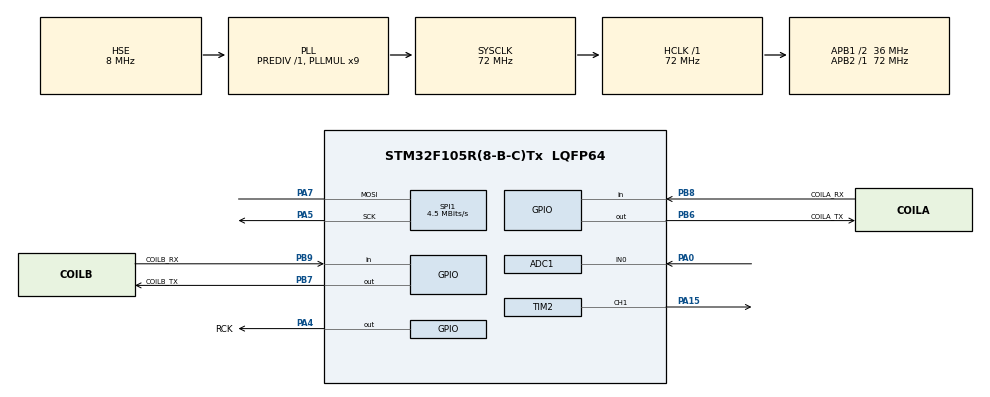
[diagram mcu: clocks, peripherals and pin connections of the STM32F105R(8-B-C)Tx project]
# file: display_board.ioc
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ADC1.Channel-2\#ChannelRegularConversion=ADC_CHANNEL_0
ADC1.ContinuousConvMode=ENABLE
ADC1.NbrOfConversion=1
ADC1.NbrOfConversionFlag=1
ADC1.Rank-2\#ChannelRegularConversion=1
ADC1.SamplingTime-2\#ChannelRegularConversion=ADC_SAMPLETIME_13CYCLES_5
ADC1.master=1
Dma.ADC1.0.Direction=DMA_PERIPH_TO_MEMORY
Dma.ADC1.0.Instance=DMA1_Channel1
Dma.ADC1.0.MemDataAlignment=DMA_MDATAALIGN_HALFWORD
Dma.ADC1.0.MemInc=DMA_MINC_ENABLE
Dma.ADC1.0.Mode=DMA_NORMAL
Dma.ADC1.0.PeriphDataAlignment=DMA_PDATAALIGN_HALFWORD
Dma.ADC1.0.PeriphInc=DMA_PINC_DISABLE
Dma.ADC1.0.Priority=DMA_PRIORITY_LOW
Dma.Request0=ADC1
Mcu.Family=STM32F1
Mcu.Name=STM32F105R(8-B-C)Tx
Mcu.Package=LQFP64
NVIC.DMA1_Channel1_IRQn=true\:0\:0\:false\:false\:true\:false\:true\:true
NVIC.PriorityGroup=NVIC_PRIORITYGROUP_4
NVIC.TIM3_IRQn=true\:0\:0\:false\:false\:true\:true\:true\:true
NVIC.TIM6_IRQn=true\:0\:0\:false\:false\:true\:true\:true\:true
PA0-WKUP.Signal=ADCx_IN0
PA13.Mode=Serial_Wire
PA13.Signal=SYS_JTMS-SWDIO
PA14.Mode=Serial_Wire
PA14.Signal=SYS_JTCK-SWCLK
PA15.Signal=S_TIM2_CH1_ETR
PA4.GPIO_Label=RCK
PA4.Signal=GPIO_Output
PA5.Mode=Simplex_Bidirectional_Master
PA5.Signal=SPI1_SCK
PA7.Mode=Simplex_Bidirectional_Master
PA7.Signal=SPI1_MOSI
PB6.GPIO_Label=COILA_TX
PB6.Signal=GPIO_Output
PB7.GPIO_Label=COILB_TX
PB7.Signal=GPIO_Output
PB8.GPIO_Label=COILA_RX
PB8.GPIO_PuPd=GPIO_PULLUP
PB8.Signal=GPIO_Input
PB9.GPIO_Label=COILB_RX
PB9.Signal=GPIO_Input
PD0-OSC_IN.Mode=HSE-External-Oscillator
PD0-OSC_IN.Signal=RCC_OSC_IN
PD1-OSC_OUT.Mode=HSE-External-Oscillator
PD1-OSC_OUT.Signal=RCC_OSC_OUT
ProjectManager.HeapSize=0x200
ProjectManager.StackSize=0x400
ProjectManager.TargetToolchain=STM32CubeIDE
RCC.ADCPresc=RCC_ADCPCLK2_DIV6
RCC.AHBFreq_Value=72000000
RCC.APB1CLKDivider=RCC_HCLK_DIV2
RCC.APB1Freq_Value=36000000
RCC.APB1TimFreq_Value=72000000
RCC.APB2Freq_Value=72000000
RCC.APB2TimFreq_Value=72000000
RCC.HCLKFreq_Value=72000000
RCC.PLLMUL=RCC_PLL_MUL9
RCC.PLLSourceVirtual=RCC_PLLSOURCE_HSE
RCC.SYSCLKFreq_VALUE=72000000
RCC.SYSCLKSource=RCC_SYSCLKSOURCE_PLLCLK
RCC.USBFreq_Value=72000000
RCC.USBPrescaler=RCC_USBCLKSOURCE_PLL_DIV2
SH.ADCx_IN0.0=ADC1_IN0,IN0
SH.S_TIM2_CH1_ETR.0=TIM2_CH1,PWM Generation1 CH1
SPI1.BaudRatePrescaler=SPI_BAUDRATEPRESCALER_16
SPI1.CalculateBaudRate=4.5 MBits/s
SPI1.Direction=SPI_DIRECTION_1LINE
SPI1.Mode=SPI_MODE_MASTER
SPI1.VirtualType=VM_MASTER
TIM2.Channel-PWM\ Generation1\ CH1=TIM_CHANNEL_1
TIM2.ClockDivision=TIM_CLOCKDIVISION_DIV1
TIM2.Period=4096-1
TIM2.Prescaler=24-1
TIM2.Pulse-PWM\ Generation1\ CH1=500-1
TIM3.AutoReloadPreload=TIM_AUTORELOAD_PRELOAD_ENABLE
TIM3.Period=19
TIM3.Prescaler=74
TIM6.AutoReloadPreload=TIM_AUTORELOAD_PRELOAD_ENABLE
TIM6.Period=1200-1
TIM6.Prescaler=72-1
VP_TIM2_VS_ClockSourceINT.Mode=Internal
VP_TIM3_VS_ClockSourceINT.Mode=Internal
VP_TIM6_VS_ClockSourceINT.Mode=Enable_Timer
board=custom

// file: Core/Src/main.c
/* USER CODE BEGIN Header */
/**
  ******************************************************************************
  * @file           : main.c
  * @brief          : Main program body
  ******************************************************************************
  * @attention
  *
  * Copyright (c) 2023 STMicroelectronics.
  * All rights reserved.
  *
  * This software is licensed under terms that can be found in the LICENSE file
  * in the root directory of this software component.
  * If no LICENSE file comes with this software, it is provided AS-IS.
  *
  ******************************************************************************
  */
/* USER CODE END Header */
#include "main.h"

/* USER CODE BEGIN Includes */
#include "seven_seg.h"
#include "softuart.h"

/* USER CODE END Includes */

ADC_HandleTypeDef hadc1;
DMA_HandleTypeDef hdma_adc1;

SPI_HandleTypeDef hspi1;

TIM_HandleTypeDef htim2;
TIM_HandleTypeDef htim3;
TIM_HandleTypeDef htim6;

/* USER CODE BEGIN PV */

volatile uint16_t adc_dma_result;
const int         adcChannelCount = 1;
volatile boolean  adc_conv_complete = false; //set by callback

uint16_t temp_a;
uint16_t temp_b;

// Create coil groups
// Each coil group is a struct of 3 seven segment displays
CoilGroup coils[2];

/* USER CODE END PV */

void SystemClock_Config(void);
static void MX_GPIO_Init(void);
static void MX_DMA_Init(void);
static void MX_ADC1_Init(void);
static void MX_SPI1_Init(void);
static void MX_TIM2_Init(void);
static void MX_TIM3_Init(void);
static void MX_TIM6_Init(void);

/* USER CODE BEGIN 0 */

// Send an SPI message
// Need to call this function every main loop, or at least 240Hz
HAL_StatusTypeDef display_loop(CoilGroup *p_coils){

	static uint8_t current_digit = 0;
	current_digit++;
	if(current_digit > 3) current_digit = 0;

	uint8_t tx_buf[7];
	populate_tx_buf(tx_buf, p_coils, current_digit);

	HAL_GPIO_WritePin(RCK_GPIO_Port, RCK_Pin, GPIO_PIN_RESET);

	HAL_StatusTypeDef stat = HAL_SPI_Transmit(&hspi1, (uint8_t*)&tx_buf, (uint16_t)sizeof(tx_buf), 100);

	// Clock to output registers
	HAL_GPIO_WritePin(RCK_GPIO_Port, RCK_Pin, GPIO_PIN_SET);

	return stat;
}

void handle_msg(uint8_t *msg_buf, uint8_t uart_num){
	switch(msg_buf[0] & 0b00001111){
	case MSG_TEMP_INT:{
		uint32_t val = 0;

		val |= msg_buf[1];
		val |= msg_buf[2] << 8;
		val |= msg_buf[3] << 16;
		val |= msg_buf[4] << 24;

		uint8_t coil_num = msg_buf[0] & 0xF0;

//		if(uart_num == SOFT_UART_A){
		if(coil_num == COIL_A){
			temp_a = (uint16_t)(val & 0x0000FFFF);

			static int msg_count_a = 0;
			set_seg7_int(&coils[0].current, ++msg_count_a);
		}
		//else if(uart_num == SOFT_UART_B){
		else if(coil_num == COIL_B){
			temp_b = (uint16_t)(val & 0x0000FFFF);

			static int msg_count_b = 0;
			set_seg7_int(&coils[1].current, ++msg_count_b);
		}

		break;
	}
	}
}

/**
 * For SOFT_UART_A and SOFT_UART_B, check for data, and update coil temperature value
 */
void handle_software_uart(){

	uint8_t buf[SENSE_BOARD_MSG_SIZE];

	uint8_t n_rx_a = SoftUartRxAlavailable(SOFT_UART_A);
	uint8_t n_rx_b = SoftUartRxAlavailable(SOFT_UART_B);

	if(n_rx_a >= SENSE_BOARD_MSG_SIZE){
		SoftUartReadRxBuffer(SOFT_UART_A, buf, SENSE_BOARD_MSG_SIZE);
		handle_msg(buf, SOFT_UART_A);
	}

	if(n_rx_b >= SENSE_BOARD_MSG_SIZE){
		SoftUartReadRxBuffer(SOFT_UART_B, buf, SENSE_BOARD_MSG_SIZE);
		handle_msg(buf, SOFT_UART_B);
	}
}

void count_led_test(CoilGroup* groups){
	//Update display number
	static uint32_t num_time = 0;
	if(HAL_GetTick() - num_time > 10){
		num_time = HAL_GetTick();

		static uint16_t num = 0;
		num++;
   	    set_seg7_int(&groups[0].temp, num);
		set_seg7_int(&groups[0].voltage, num);
		set_seg7_int(&groups[0].current, num);
		set_seg7_int(&groups[1].temp, num);
		set_seg7_int(&groups[1].voltage, num);
		set_seg7_int(&groups[1].current, num);

 	    if(num > 9999) num = 0;
	}
}

/* USER CODE END 0 */

int main(void)
{

  /* MCU Configuration--------------------------------------------------------*/

  /* Reset of all peripherals, Initializes the Flash interface and the Systick. */
  HAL_Init();

  /* Configure the system clock */
  SystemClock_Config();

  /* Initialize all configured peripherals */
  MX_GPIO_Init();
  MX_DMA_Init();
  MX_ADC1_Init();
  MX_SPI1_Init();
  MX_TIM2_Init();
  MX_TIM3_Init();
  MX_TIM6_Init();
  /* USER CODE BEGIN 2 */

  // Start DMA
  HAL_ADC_Start_DMA(&hadc1, (uint32_t*) &adc_dma_result, adcChannelCount);
  // HAL_ADC_Stop_DMA(&hadc1);

  // Start PWM on OE
  htim2.Instance->CCR1 = 500-1;
  HAL_TIM_PWM_Start(&htim2, TIM_CHANNEL_1);

  // Initialize soft uart and start timer
  HAL_TIM_Base_Start_IT(&htim3);
  HAL_TIM_Base_Start_IT(&htim6);

  SoftUartState_E soft_state = SoftUartInit(0, COILA_TX_GPIO_Port, COILA_TX_Pin, \
		                                       COILA_RX_GPIO_Port, COILA_RX_Pin);
                  soft_state = SoftUartInit(1, COILB_TX_GPIO_Port, COILB_TX_Pin, \
  		                                       COILB_RX_GPIO_Port, COILB_RX_Pin);

  soft_state = SoftUartEnableRx(SOFT_UART_A);
  soft_state = SoftUartEnableRx(SOFT_UART_B);

  /* USER CODE END 2 */

  /* Infinite loop */
  /* USER CODE BEGIN WHILE */
  while (1)
  {
	  // Do startup routine
	  if(HAL_GetTick() < 4000) count_led_test(coils);
	  else{
		  static int first_entry = 1;
		  if(first_entry == 1){
			  first_entry = 0;
			  turn_off_display(&coils[0].current);
			  turn_off_display(&coils[0].voltage);
			  turn_off_display(&coils[1].voltage);
			  turn_off_display(&coils[1].current);
			  //turn_off_display(&coils[1].temp);
			  set_seg7_int(&coils[0].temp, 1);
			  set_seg7_int(&coils[1].temp, 1);
		  }

		  // Update temperature
		  // Use current as a counter for how many messages there are
		  if(temp_a != coils[0].temp.value){
			  set_seg7_int(&coils[0].temp, temp_a);
		  }
		  if(temp_b != coils[1].temp.value){
			  set_seg7_int(&coils[1].temp, temp_b);
		  }

		  // Check for new data
		  handle_software_uart();

		  // Check for new ADC value and set PWM
		  static uint32_t adc_time = 0;
		  if(adc_conv_complete){
			  if(HAL_GetTick() - adc_time > 20){
				  adc_time = HAL_GetTick();
				  adc_conv_complete = false;
				  htim2.Instance->CCR1 = adc_dma_result;

				  // Start ADC DMA again
				  HAL_ADC_Start_DMA(&hadc1, (uint32_t*)&adc_dma_result, adcChannelCount);
			  }
		  }
	  }

    /* USER CODE END WHILE */

    /* USER CODE BEGIN 3 */
	  // Call function to MUX displays
//	  HAL_Delay(1);
//	  display_loop(coils);
  }
  /* USER CODE END 3 */
}

void SystemClock_Config(void)
{
  RCC_OscInitTypeDef RCC_OscInitStruct = {0};
  RCC_ClkInitTypeDef RCC_ClkInitStruct = {0};
  RCC_PeriphCLKInitTypeDef PeriphClkInit = {0};

  /** Initializes the RCC Oscillators according to the specified parameters
  * in the RCC_OscInitTypeDef structure.
  */
  RCC_OscInitStruct.OscillatorType = RCC_OSCILLATORTYPE_HSE;
  RCC_OscInitStruct.HSEState = RCC_HSE_ON;
  RCC_OscInitStruct.HSEPredivValue = RCC_HSE_PREDIV_DIV1;
  RCC_OscInitStruct.HSIState = RCC_HSI_ON;
  RCC_OscInitStruct.Prediv1Source = RCC_PREDIV1_SOURCE_HSE;
  RCC_OscInitStruct.PLL.PLLState = RCC_PLL_ON;
  RCC_OscInitStruct.PLL.PLLSource = RCC_PLLSOURCE_HSE;
  RCC_OscInitStruct.PLL.PLLMUL = RCC_PLL_MUL9;
  RCC_OscInitStruct.PLL2.PLL2State = RCC_PLL_NONE;
  if (HAL_RCC_OscConfig(&RCC_OscInitStruct) != HAL_OK)
  {
    Error_Handler();
  }

  /** Initializes the CPU, AHB and APB buses clocks
  */
  RCC_ClkInitStruct.ClockType = RCC_CLOCKTYPE_HCLK|RCC_CLOCKTYPE_SYSCLK
                              |RCC_CLOCKTYPE_PCLK1|RCC_CLOCKTYPE_PCLK2;
  RCC_ClkInitStruct.SYSCLKSource = RCC_SYSCLKSOURCE_PLLCLK;
  RCC_ClkInitStruct.AHBCLKDivider = RCC_SYSCLK_DIV1;
  RCC_ClkInitStruct.APB1CLKDivider = RCC_HCLK_DIV2;
  RCC_ClkInitStruct.APB2CLKDivider = RCC_HCLK_DIV1;

  if (HAL_RCC_ClockConfig(&RCC_ClkInitStruct, FLASH_LATENCY_2) != HAL_OK)
  {
    Error_Handler();
  }
  PeriphClkInit.PeriphClockSelection = RCC_PERIPHCLK_ADC;
  PeriphClkInit.AdcClockSelection = RCC_ADCPCLK2_DIV6;
  if (HAL_RCCEx_PeriphCLKConfig(&PeriphClkInit) != HAL_OK)
  {
    Error_Handler();
  }

  /** Configure the Systick interrupt time
  */
  __HAL_RCC_PLLI2S_ENABLE();
}

static void MX_ADC1_Init(void)
{

  ADC_ChannelConfTypeDef sConfig = {0};

  /** Common config
  */
  hadc1.Instance = ADC1;
  hadc1.Init.ScanConvMode = ADC_SCAN_DISABLE;
  hadc1.Init.ContinuousConvMode = ENABLE;
  hadc1.Init.DiscontinuousConvMode = DISABLE;
  hadc1.Init.ExternalTrigConv = ADC_SOFTWARE_START;
  hadc1.Init.DataAlign = ADC_DATAALIGN_RIGHT;
  hadc1.Init.NbrOfConversion = 1;
  if (HAL_ADC_Init(&hadc1) != HAL_OK)
  {
    Error_Handler();
  }

  /** Configure Regular Channel
  */
  sConfig.Channel = ADC_CHANNEL_0;
  sConfig.Rank = ADC_REGULAR_RANK_1;
  sConfig.SamplingTime = ADC_SAMPLETIME_13CYCLES_5;
  if (HAL_ADC_ConfigChannel(&hadc1, &sConfig) != HAL_OK)
  {
    Error_Handler();
  }

}

static void MX_SPI1_Init(void)
{

  /* SPI1 parameter configuration*/
  hspi1.Instance = SPI1;
  hspi1.Init.Mode = SPI_MODE_MASTER;
  hspi1.Init.Direction = SPI_DIRECTION_1LINE;
  hspi1.Init.DataSize = SPI_DATASIZE_8BIT;
  hspi1.Init.CLKPolarity = SPI_POLARITY_LOW;
  hspi1.Init.CLKPhase = SPI_PHASE_1EDGE;
  hspi1.Init.NSS = SPI_NSS_SOFT;
  hspi1.Init.BaudRatePrescaler = SPI_BAUDRATEPRESCALER_16;
  hspi1.Init.FirstBit = SPI_FIRSTBIT_MSB;
  hspi1.Init.TIMode = SPI_TIMODE_DISABLE;
  hspi1.Init.CRCCalculation = SPI_CRCCALCULATION_DISABLE;
  hspi1.Init.CRCPolynomial = 10;
  if (HAL_SPI_Init(&hspi1) != HAL_OK)
  {
    Error_Handler();
  }

}

static void MX_TIM2_Init(void)
{

  TIM_ClockConfigTypeDef sClockSourceConfig = {0};
  TIM_MasterConfigTypeDef sMasterConfig = {0};
  TIM_OC_InitTypeDef sConfigOC = {0};

  htim2.Instance = TIM2;
  htim2.Init.Prescaler = 24-1;
  htim2.Init.CounterMode = TIM_COUNTERMODE_UP;
  htim2.Init.Period = 4096-1;
  htim2.Init.ClockDivision = TIM_CLOCKDIVISION_DIV1;
  htim2.Init.AutoReloadPreload = TIM_AUTORELOAD_PRELOAD_DISABLE;
  if (HAL_TIM_Base_Init(&htim2) != HAL_OK)
  {
    Error_Handler();
  }
  sClockSourceConfig.ClockSource = TIM_CLOCKSOURCE_INTERNAL;
  if (HAL_TIM_ConfigClockSource(&htim2, &sClockSourceConfig) != HAL_OK)
  {
    Error_Handler();
  }
  if (HAL_TIM_PWM_Init(&htim2) != HAL_OK)
  {
    Error_Handler();
  }
  sMasterConfig.MasterOutputTrigger = TIM_TRGO_RESET;
  sMasterConfig.MasterSlaveMode = TIM_MASTERSLAVEMODE_DISABLE;
  if (HAL_TIMEx_MasterConfigSynchronization(&htim2, &sMasterConfig) != HAL_OK)
  {
    Error_Handler();
  }
  sConfigOC.OCMode = TIM_OCMODE_PWM1;
  sConfigOC.Pulse = 500-1;
  sConfigOC.OCPolarity = TIM_OCPOLARITY_HIGH;
  sConfigOC.OCFastMode = TIM_OCFAST_DISABLE;
  if (HAL_TIM_PWM_ConfigChannel(&htim2, &sConfigOC, TIM_CHANNEL_1) != HAL_OK)
  {
    Error_Handler();
  }
  HAL_TIM_MspPostInit(&htim2);

}

static void MX_TIM3_Init(void)
{

  TIM_ClockConfigTypeDef sClockSourceConfig = {0};
  TIM_MasterConfigTypeDef sMasterConfig = {0};

  htim3.Instance = TIM3;
  htim3.Init.Prescaler = 74;
  htim3.Init.CounterMode = TIM_COUNTERMODE_UP;
  htim3.Init.Period = 19;
  htim3.Init.ClockDivision = TIM_CLOCKDIVISION_DIV1;
  htim3.Init.AutoReloadPreload = TIM_AUTORELOAD_PRELOAD_ENABLE;
  if (HAL_TIM_Base_Init(&htim3) != HAL_OK)
  {
    Error_Handler();
  }
  sClockSourceConfig.ClockSource = TIM_CLOCKSOURCE_INTERNAL;
  if (HAL_TIM_ConfigClockSource(&htim3, &sClockSourceConfig) != HAL_OK)
  {
    Error_Handler();
  }
  sMasterConfig.MasterOutputTrigger = TIM_TRGO_RESET;
  sMasterConfig.MasterSlaveMode = TIM_MASTERSLAVEMODE_DISABLE;
  if (HAL_TIMEx_MasterConfigSynchronization(&htim3, &sMasterConfig) != HAL_OK)
  {
    Error_Handler();
  }

}

static void MX_TIM6_Init(void)
{

  TIM_MasterConfigTypeDef sMasterConfig = {0};

  htim6.Instance = TIM6;
  htim6.Init.Prescaler = 72-1;
  htim6.Init.CounterMode = TIM_COUNTERMODE_UP;
  htim6.Init.Period = 1200-1;
  htim6.Init.AutoReloadPreload = TIM_AUTORELOAD_PRELOAD_ENABLE;
  if (HAL_TIM_Base_Init(&htim6) != HAL_OK)
  {
    Error_Handler();
  }
  sMasterConfig.MasterOutputTrigger = TIM_TRGO_RESET;
  sMasterConfig.MasterSlaveMode = TIM_MASTERSLAVEMODE_DISABLE;
  if (HAL_TIMEx_MasterConfigSynchronization(&htim6, &sMasterConfig) != HAL_OK)
  {
    Error_Handler();
  }

}

static void MX_DMA_Init(void)
{

  /* DMA controller clock enable */
  __HAL_RCC_DMA1_CLK_ENABLE();

  /* DMA interrupt init */
  /* DMA1_Channel1_IRQn interrupt configuration */
  HAL_NVIC_SetPriority(DMA1_Channel1_IRQn, 0, 0);
  HAL_NVIC_EnableIRQ(DMA1_Channel1_IRQn);

}

static void MX_GPIO_Init(void)
{
  GPIO_InitTypeDef GPIO_InitStruct = {0};

  /* GPIO Ports Clock Enable */
  __HAL_RCC_GPIOD_CLK_ENABLE();
  __HAL_RCC_GPIOA_CLK_ENABLE();
  __HAL_RCC_GPIOB_CLK_ENABLE();

  /*Configure GPIO pin Output Level */
  HAL_GPIO_WritePin(RCK_GPIO_Port, RCK_Pin, GPIO_PIN_RESET);

  /*Configure GPIO pin Output Level */
  HAL_GPIO_WritePin(GPIOB, COILA_TX_Pin|COILB_TX_Pin, GPIO_PIN_RESET);

  /*Configure GPIO pin : RCK_Pin */
  GPIO_InitStruct.Pin = RCK_Pin;
  GPIO_InitStruct.Mode = GPIO_MODE_OUTPUT_PP;
  GPIO_InitStruct.Pull = GPIO_NOPULL;
  GPIO_InitStruct.Speed = GPIO_SPEED_FREQ_LOW;
  HAL_GPIO_Init(RCK_GPIO_Port, &GPIO_InitStruct);

  /*Configure GPIO pins : COILA_TX_Pin COILB_TX_Pin */
  GPIO_InitStruct.Pin = COILA_TX_Pin|COILB_TX_Pin;
  GPIO_InitStruct.Mode = GPIO_MODE_OUTPUT_PP;
  GPIO_InitStruct.Pull = GPIO_NOPULL;
  GPIO_InitStruct.Speed = GPIO_SPEED_FREQ_LOW;
  HAL_GPIO_Init(GPIOB, &GPIO_InitStruct);

  /*Configure GPIO pin : COILA_RX_Pin */
  GPIO_InitStruct.Pin = COILA_RX_Pin;
  GPIO_InitStruct.Mode = GPIO_MODE_INPUT;
  GPIO_InitStruct.Pull = GPIO_PULLUP;
  HAL_GPIO_Init(COILA_RX_GPIO_Port, &GPIO_InitStruct);

  /*Configure GPIO pin : COILB_RX_Pin */
  GPIO_InitStruct.Pin = COILB_RX_Pin;
  GPIO_InitStruct.Mode = GPIO_MODE_INPUT;
  GPIO_InitStruct.Pull = GPIO_NOPULL;
  HAL_GPIO_Init(COILB_RX_GPIO_Port, &GPIO_InitStruct);

}

/* USER CODE BEGIN 4 */

void HAL_TIM_PeriodElapsedCallback(TIM_HandleTypeDef *htim)
{
	if(htim->Instance==TIM3)
	{
		SoftUartHandler();
	}
	else if(htim->Instance == TIM6){
		display_loop(coils);
	}
}

void HAL_ADC_ConvCpltCallback(ADC_HandleTypeDef *hadc) {
	adc_conv_complete = true;
}
/* USER CODE END 4 */

void Error_Handler(void)
{
  __disable_irq();
  while (1)
  {
  }
}
